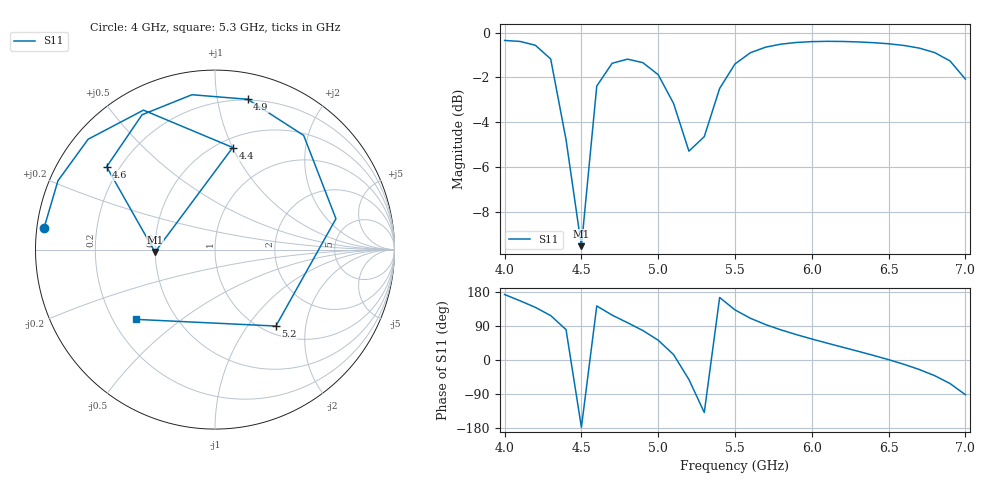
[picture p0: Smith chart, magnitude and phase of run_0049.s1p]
! Touchstone file exported from HFSS 2024.2.0
!  File:  C:/Users/wsak9/Desktop/Sim Fast/Widenad Patch/WP_AI_V1_sweep.aedt
!  Generated:  04:56:01 PM Oct 13, 2026
!  Design:  A1_model
!  Project:  WP_AI_V1_sweep
!  Setup:  Setup1
!  Solution:  Sweep
! Variables:
!  Air_gap = 4.19mm
!  Curve_Amp1 = 4
!  Curve_len1 = 1
!  Curve_pos = 12.875mm
!  Extra = 0.7mm
!  H_sub = 0.79mm
!  L_Patch = 21.75mm
!  L_Patch1 = 12.53mm
!  Sx = 2.81mm
!  Sy = 1.4mm
!  WS = 0.34mm
!  W_Patch = 11.1mm
!  W_Patch1 = 11.83mm
!Data is not renormalized
# GHz S MA
! Terminal data exported
! Port[1] = 1
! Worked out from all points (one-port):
!   31 points, 4 GHz to 7 GHz, reference per port
!   lowest |S11| = -9.5 dB at 4.5 GHz (marker M1), VSWR 2.01
!   |S11| at or under -10 dB: nowhere
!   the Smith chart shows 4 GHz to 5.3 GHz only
!   S11 on the Smith chart (normalised r, x): 4 GHz: 0.02, +0.06; 4.4 GHz: 0.59, +1.00; 4.6 GHz: 0.15, +0.33; 4.9 GHz: 0.19, +1.22; 5.2 GHz: 1.14, -1.38; 5.3 GHz: 0.30, -0.35
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4  0.9601 172.8
4.1  0.9554 156.3
4.2  0.9369 139.0
4.3  0.8733 117.2
4.4  0.5773 80.1
4.5  0.3346 -177.6
4.6  0.7601 142.6
4.7  0.8541 118.4
4.8  0.8723 98.5
4.9  0.857 77.8
5  0.8056 52.2
5.1  0.6954 14.3
5.2  0.5445 -51.5
5.3  0.5866 -138.5
5.4  0.7509 165.0
5.5  0.8512 132.2
5.6  0.9016 110.1
5.7  0.9278 93.3
5.8  0.9422 79.3
5.9  0.9503 66.9
6.1  0.9558 44.5
6.3  0.9529 23.2
6.5  0.9439 0.9
6.6  0.9358 -11.4
6.7  0.9231 -25.1
6.8  0.9023 -41.4
6.9  0.8644 -62.1
7  0.7875 -91.6
